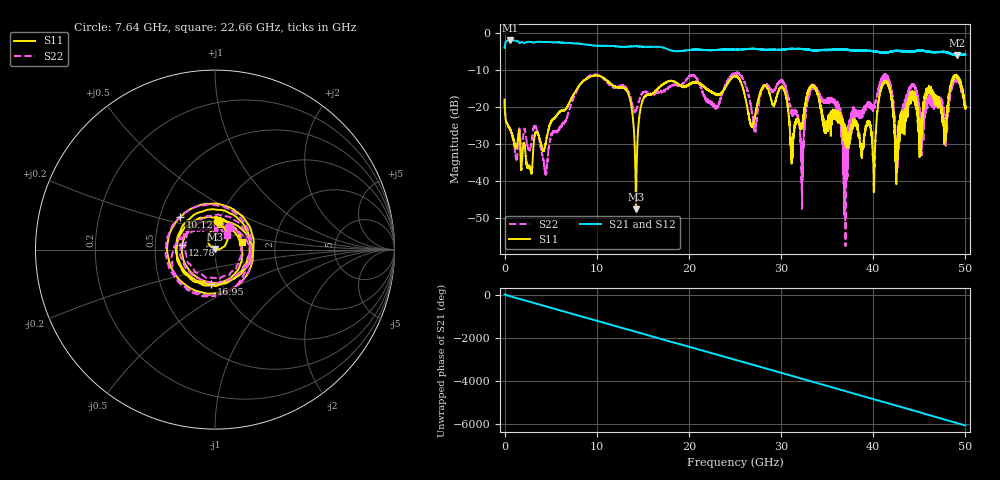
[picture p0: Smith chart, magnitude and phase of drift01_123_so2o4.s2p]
!Created with skrf (http://scikit-rf.org).
# Hz S RI R 50.0
!freq ReS11 ImS11 ReS21 ImS21 ReS12 ImS12 ReS22 ImS22
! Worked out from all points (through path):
!   10001 points, 300 kHz to 50 GHz, reference 50 ohm
!   highest |S21| = -2.00 dB at 570.3 MHz (marker M1); lowest = -6.0 dB at 49.08 GHz (marker M2)
!   group delay of S21, straight-line fit = 336 ps
!   lowest |S11| = -47.7 dB at 14.26 GHz (marker M3), VSWR 1.01, Z = 50 + j0.41 ohm
!   |S11| at or under -10 dB: start of sweep to end of sweep
!   |S22| runs from -57.7 to -10.6 dB; largest |S21 - S12| = 0.025
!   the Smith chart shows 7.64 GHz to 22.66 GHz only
!   S11 on the Smith chart (normalised r, x): 7.64 GHz: 0.98, +0.32; 10.12 GHz: 0.64, +0.25; 12.78 GHz: 0.69, +0.04; 16.95 GHz: 0.89, -0.35; 22.66 GHz: 1.34, +0.12
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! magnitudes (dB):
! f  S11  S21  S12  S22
! 300 kHz  -18.1  -4.0  -4.0  -17.7
! 570.3 MHz  -25.9  -2.0  -2.0  -26.1
! 4.445 GHz  -29.9  -2.4  -2.4  -37.7
! 7.64 GHz  -16.0  -2.8  -2.8  -16.7
! 8.335 GHz  -13.5  -2.9  -3.0  -13.5
! 10.12 GHz  -11.5  -3.4  -3.4  -11.4
! 12.78 GHz  -14.7  -3.8  -3.7  -14.3
! 14.26 GHz  -47.7  -3.6  -3.6  -21.2
! 16.67 GHz  -14.9  -3.7  -3.7  -15.8
! 16.95 GHz  -14.3  -3.8  -3.8  -15.6
! 22.66 GHz  -16.2  -4.6  -4.6  -19.5
! 25 GHz  -11.6  -4.5  -4.5  -11.1
! 27.15 GHz  -22.5  -4.2  -4.2  -26.2
! 30.2 GHz  -14.8  -4.5  -4.5  -13.1
! 32.26 GHz  -25.4  -4.3  -4.3  -37.6
! 33.34 GHz  -14.2  -4.6  -4.6  -14.8
! 37.02 GHz  -26.7  -4.5  -4.5  -34.1
! 40.06 GHz  -41.1  -4.9  -4.9  -20.4
! 41.67 GHz  -14.0  -5.1  -5.1  -12.6
! 42.57 GHz  -33.3  -4.8  -4.8  -30.1
! 49.08 GHz  -11.6  -6.0  -6.0  -12.9
! 50 GHz  -19.9  -5.8  -5.8  -19.5
